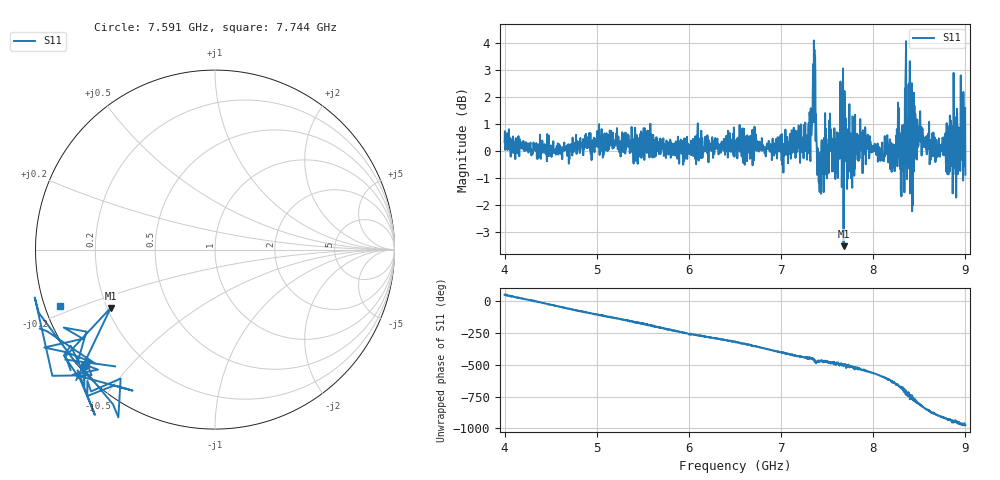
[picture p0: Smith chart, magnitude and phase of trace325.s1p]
! Created with skrf 1.8.0 (http://scikit-rf.org).
# Hz S RI R 50.0
!freq ReS11 ImS11
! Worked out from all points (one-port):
!   1601 points, 4 GHz to 9 GHz, reference 50 ohm
!   lowest |S11| = -3.5 dB at 7.678 GHz (marker M1), VSWR 4.98, Z = 10.7 - j12.5 ohm
!   |S11| at or under -10 dB: nowhere
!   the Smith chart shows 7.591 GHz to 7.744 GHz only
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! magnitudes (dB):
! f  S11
! 4 GHz  0.3
! 4.625 GHz  -0.3
! 5.25 GHz  0.2
! 5.875 GHz  -0.1
! 6.5 GHz  0.4
! 7.125 GHz  0.3
! 7.294 GHz  0.4
! 7.328 GHz  0.6
! 7.347 GHz  3.2
! 7.372 GHz  2.9
! 7.4 GHz  -0.3
! 7.412 GHz  -0.4
! 7.525 GHz  0.5
! 7.612 GHz  0.4
! 7.647 GHz  0.4
! 7.678 GHz  -3.5
! 7.703 GHz  1.2
! 7.75 GHz  0.7
! 8.209 GHz  -0.3
! 8.262 GHz  -0.6
! 8.316 GHz  0.1
! 8.334 GHz  0.8
! 8.375 GHz  1.1
! 8.425 GHz  -1.0
! 8.509 GHz  1.5
! 8.803 GHz  -0.9
! 8.972 GHz  0.4
! 9 GHz  -0.9
